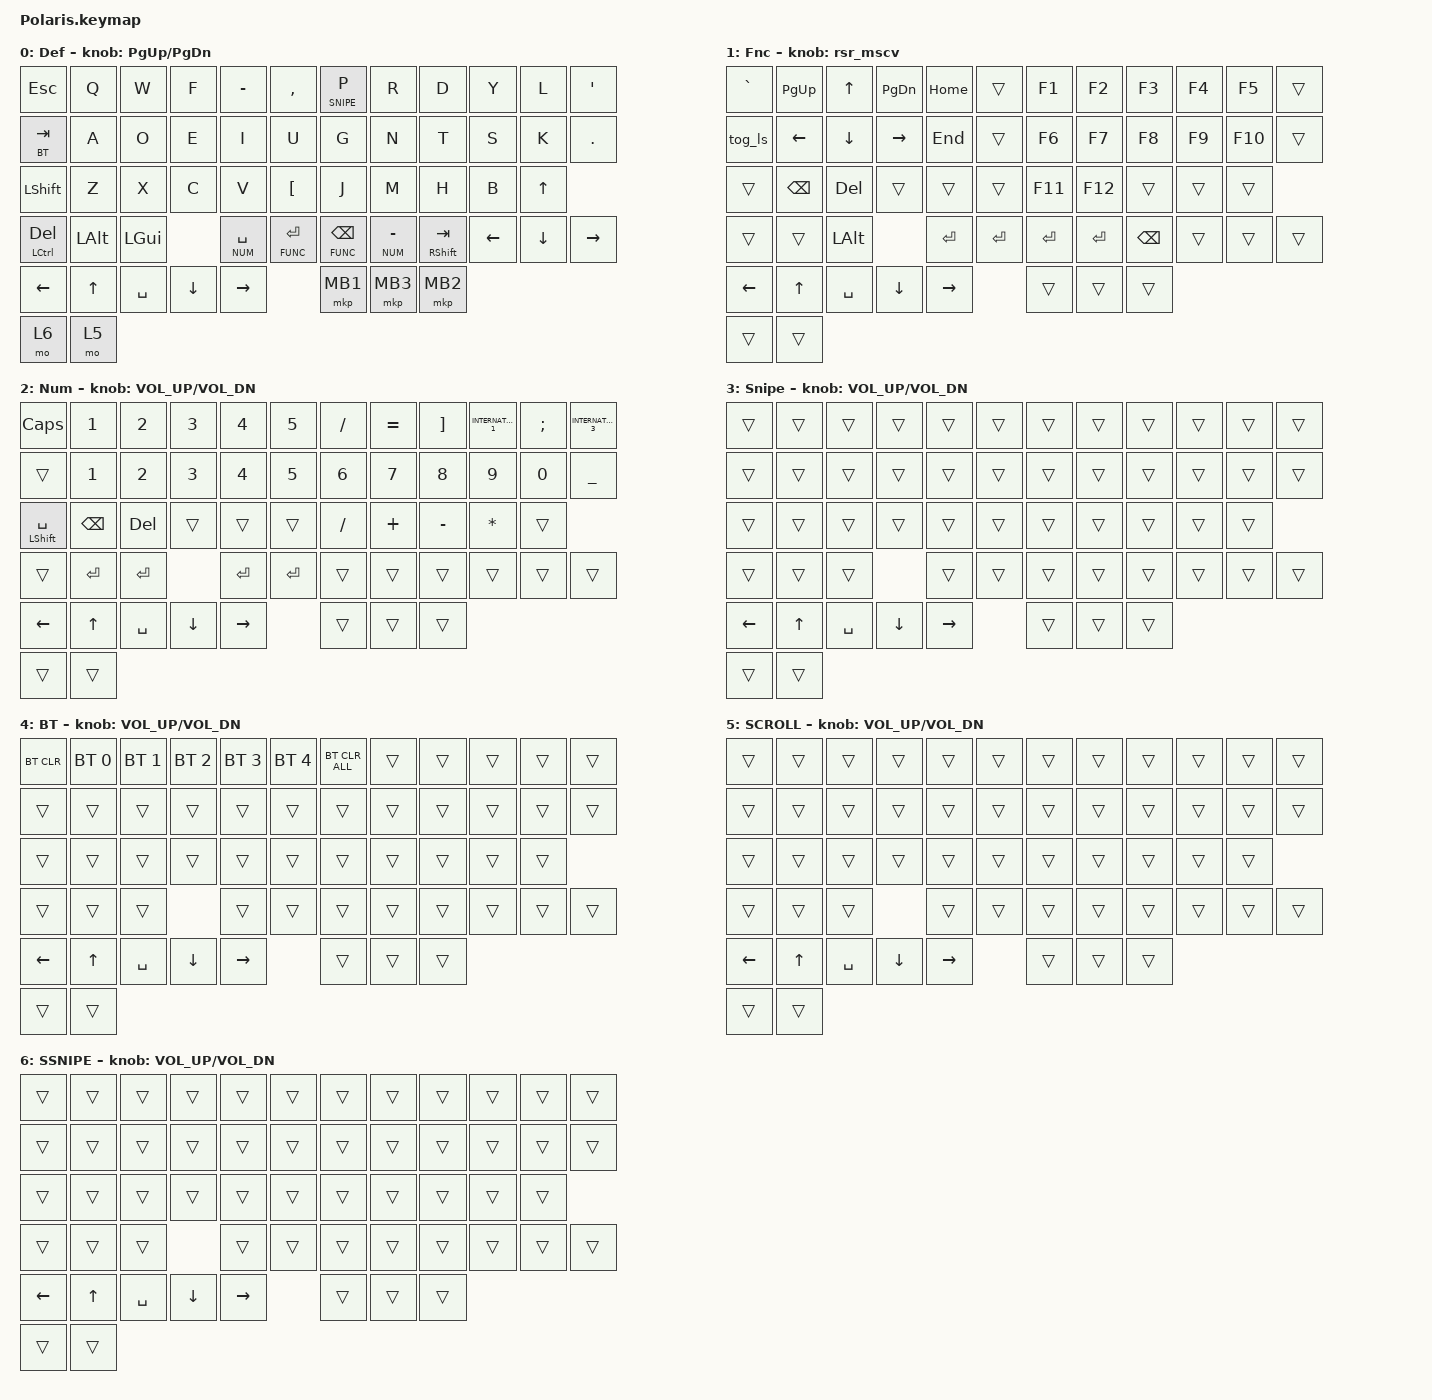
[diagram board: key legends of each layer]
// #include <layout_shift.dtsi>

#include <behaviors.dtsi>
#include <dt-bindings/zmk/bt.h>
#include <dt-bindings/zmk/keys.h>
#include <dt-bindings/zmk/pointing.h>
#include "layout_shift.dtsi"

/ {
    behaviors {
        // Keep the original key_press behavior for ZMK core components

        original_key_press: original_key_press {
            compatible = "zmk,behavior-key-press";
            #binding-cells = <1>;
            label = "KEY_PRESS";
        };

        // Override the existing &kp behavior to use our custom implementation

        kp: key_press {
            compatible = "zmk,behavior-layout-shift-key-press";
            #binding-cells = <1>;
            label = "LAYOUT_SHIFT_KEY_PRESS";
        };

        rsr_vol: rsr_vol {
            compatible = "zmk,behavior-runtime-sensor-rotate";
            #sensor-binding-cells = <0>;
            tap-ms = <5>;
            cw-binding = <&kp C_VOL_UP>;
            ccw-binding = <&kp C_VOL_DN>;
        };

        // mouse scroll

        rsr_msch: rsr_msch {
            compatible = "zmk,behavior-runtime-sensor-rotate";
            #sensor-binding-cells = <0>;
            tap-ms = <5>;
            cw-binding = <&msc SCRL_DOWN>;
            ccw-binding = <&msc SCRL_UP>;
        };

        rsr_mscv: rsr_mscv {
            compatible = "zmk,behavior-runtime-sensor-rotate";
            #sensor-binding-cells = <0>;
            tap-ms = <5>;
            cw-binding = <&msc SCRL_RIGHT>;
            ccw-binding = <&msc SCRL_LEFT>;
        };
    };
};

#define DEF 0
#define FUNC 1
#define NUM 2
#define SNIPE 3
#define BT 4
#define SCROLL 5
#define SSNIPE 6

/ {
    combos {
        compatible = "zmk,combos";

        COMBO_LANG1 {
            bindings = <&kp LANGUAGE_1>;
            key-positions = <3 4>;
        };

        COMBO_LANG2 {
            bindings = <&kp LANG2>;
            key-positions = <2 3>;
        };
    };

    keymap {
        compatible = "zmk,keymap";

        default_layer {
            label = "Def";
            bindings = <
&kp ESCAPE        &kp Q     &kp W         &kp F     &kp MINUS      &kp COMMA                 &lt SNIPE P         &kp R          &kp D                &kp Y     &kp L     &kp SQT
&lt BT TAB        &kp A     &kp O         &kp E     &kp I          &kp U                     &kp G               &kp N          &kp T                &kp S     &kp K     &kp PERIOD
&kp LSHFT         &kp Z     &kp X         &kp C     &kp V          &kp LEFT_BRACKET          &kp J               &kp M          &kp H                &kp B     &kp UP
&mt LCTRL DELETE  &kp LALT  &kp LEFT_GUI            &lt NUM SPACE  &lt FUNC ENTER            &lt FUNC BACKSPACE  &lt NUM MINUS  &mt RIGHT_SHIFT TAB  &kp LEFT  &kp DOWN  &kp RIGHT
&kp LEFT          &kp UP    &kp SPACE     &kp DOWN  &kp RIGHT                                &mkp MB1            &mkp MB3       &mkp MB2
&mo 6             &mo 5
            >;

            sensor-bindings = <&inc_dec_kp PG_UP PAGE_DOWN>;
        };

        function_layer {
            label = "Fnc";
            bindings = <
&kp GRAVE  &kp PG_UP      &kp UP     &kp PG_DN  &kp HOME   &trans             &kp F1     &kp F2     &kp F3    &kp F4  &kp F5   &trans
&tog_ls    &kp LEFT       &kp DOWN   &kp RIGHT  &kp END    &trans             &kp F6     &kp F7     &kp F8    &kp F9  &kp F10  &trans
&trans     &kp BACKSPACE  &kp DEL    &trans     &trans     &trans             &kp F11    &kp F12    &trans    &trans  &trans
&trans     &trans         &kp LALT              &kp ENTER  &kp ENTER          &kp ENTER  &kp ENTER  &kp BKSP  &trans  &trans   &trans
&kp LEFT   &kp UP         &kp SPACE  &kp DOWN   &kp RIGHT                     &trans     &trans     &trans
&trans     &trans
            >;

            sensor-bindings = <&rsr_mscv>;
        };

        num_layer {
            label = "Num";
            bindings = <
&kp CAPS         &kp N1         &kp N2        &kp N3        &kp N4        &kp N5             &kp SLASH     &kp EQUAL  &kp RIGHT_BRACKET  &kp INTERNATIONAL_1  &kp SEMI  &kp INTERNATIONAL_3
&trans           &kp NUMBER_1   &kp NUMBER_2  &kp NUMBER_3  &kp NUMBER_4  &kp N5             &kp NUMBER_6  &kp N7     &kp N8             &kp N9               &kp N0    &kp UNDER
&mt LSHFT SPACE  &kp BACKSPACE  &kp DEL       &trans        &trans        &trans             &kp SLASH     &kp PLUS   &kp MINUS          &kp ASTRK            &trans
&trans           &kp ENTER      &kp ENTER                   &kp ENTER     &kp ENTER          &trans        &trans     &trans             &trans               &trans    &trans
&kp LEFT         &kp UP         &kp SPACE     &kp DOWN      &kp RIGHT                        &trans        &trans     &trans
&trans           &trans
            >;

            sensor-bindings = <&inc_dec_kp C_VOL_UP C_VOL_DN>;
        };

        snipe_layer {
            label = "Snipe";
            bindings = <
&trans    &trans  &trans     &trans    &trans     &trans          &trans  &trans  &trans  &trans  &trans  &trans
&trans    &trans  &trans     &trans    &trans     &trans          &trans  &trans  &trans  &trans  &trans  &trans
&trans    &trans  &trans     &trans    &trans     &trans          &trans  &trans  &trans  &trans  &trans
&trans    &trans  &trans               &trans     &trans          &trans  &trans  &trans  &trans  &trans  &trans
&kp LEFT  &kp UP  &kp SPACE  &kp DOWN  &kp RIGHT                  &trans  &trans  &trans
&trans    &trans
            >;

            sensor-bindings = <&inc_dec_kp C_VOL_UP C_VOL_DN>;
        };

        bt_layer {
            label = "BT";
            bindings = <
&bt BT_CLR  &bt BT_SEL 0  &bt BT_SEL 1  &bt BT_SEL 2  &bt BT_SEL 3  &bt BT_SEL 4          &bt BT_CLR_ALL  &trans  &trans  &trans  &trans  &trans
&trans      &trans        &trans        &trans        &trans        &trans                &trans          &trans  &trans  &trans  &trans  &trans
&trans      &trans        &trans        &trans        &trans        &trans                &trans          &trans  &trans  &trans  &trans
&trans      &trans        &trans                      &trans        &trans                &trans          &trans  &trans  &trans  &trans  &trans
&kp LEFT    &kp UP        &kp SPACE     &kp DOWN      &kp RIGHT                           &trans          &trans  &trans
&trans      &trans
            >;

            sensor-bindings = <&inc_dec_kp C_VOL_UP C_VOL_DN>;
        };

        scroll_layer {
            label = "SCROLL";
            bindings = <
&trans    &trans  &trans     &trans    &trans     &trans          &trans  &trans  &trans  &trans  &trans  &trans
&trans    &trans  &trans     &trans    &trans     &trans          &trans  &trans  &trans  &trans  &trans  &trans
&trans    &trans  &trans     &trans    &trans     &trans          &trans  &trans  &trans  &trans  &trans
&trans    &trans  &trans               &trans     &trans          &trans  &trans  &trans  &trans  &trans  &trans
&kp LEFT  &kp UP  &kp SPACE  &kp DOWN  &kp RIGHT                  &trans  &trans  &trans
&trans    &trans
            >;

            sensor-bindings = <&inc_dec_kp C_VOL_UP C_VOL_DN>;
        };

        SSNIPE_layer {
            label = "SSNIPE";
            bindings = <
&trans    &trans  &trans     &trans    &trans     &trans          &trans  &trans  &trans  &trans  &trans  &trans
&trans    &trans  &trans     &trans    &trans     &trans          &trans  &trans  &trans  &trans  &trans  &trans
&trans    &trans  &trans     &trans    &trans     &trans          &trans  &trans  &trans  &trans  &trans
&trans    &trans  &trans               &trans     &trans          &trans  &trans  &trans  &trans  &trans  &trans
&kp LEFT  &kp UP  &kp SPACE  &kp DOWN  &kp RIGHT                  &trans  &trans  &trans
&trans    &trans
            >;

            sensor-bindings = <&inc_dec_kp C_VOL_UP C_VOL_DN>;
        };
    };
};
